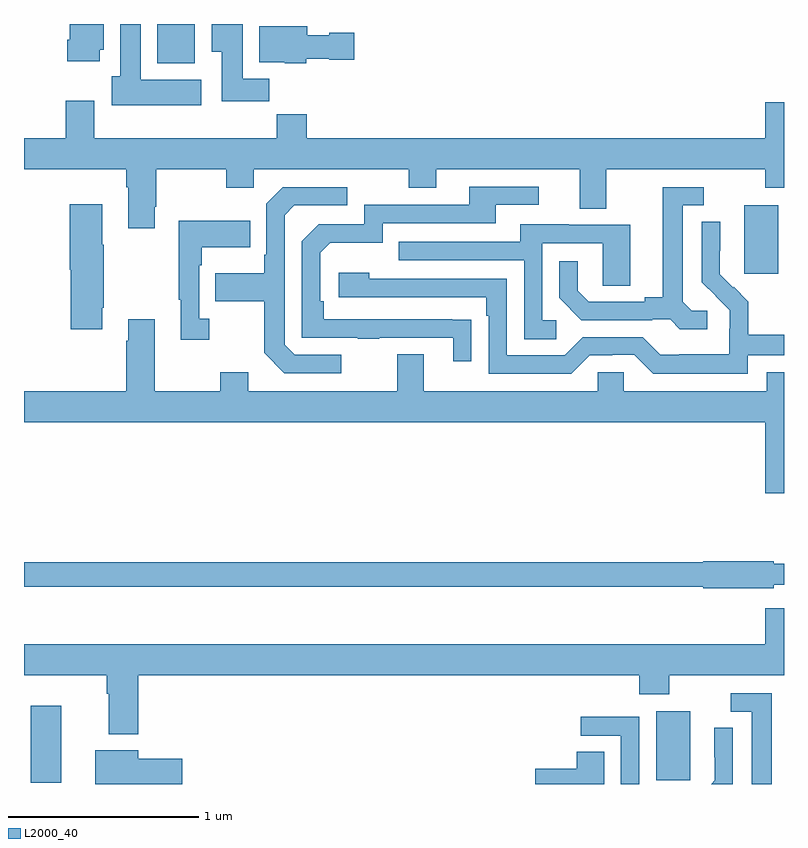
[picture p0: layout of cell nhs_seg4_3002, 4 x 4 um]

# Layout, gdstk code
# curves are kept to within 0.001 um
import gdstk
lib = gdstk.Library(unit=1e-6, precision=1e-09)
def R(c, l, rs):  # rectangles x0, y0, x1, y1
    for r in rs: c.add(gdstk.rectangle(r[:2], r[2:], *l))
def P(c, l, *ps):  # polygons
    for p in ps: c.add(gdstk.Polygon(p, *l))
L2000_40 = (2000, 40)

nhs_seg4_3002 = lib.new_cell('nhs_seg4_3002')
R(nhs_seg4_3002, L2000_40, [(269.036,810.906,269.197,811.312), (272.327,810.921,272.506,811.282), (272.792,813.585,272.971,813.946), (269.702,814.694,269.899,814.9)])
P(nhs_seg4_3002, L2000_40, [(269.398,814.764),(269.419,814.764),(269.419,814.9),(269.24,814.9),(269.24,814.816),(269.228,814.816),(269.228,814.704),(269.398,814.704)],
  [(269.932,814.606),(269.614,814.606),(269.614,814.9),(269.507,814.9),(269.507,814.626),(269.462,814.626),(269.462,814.472),(269.932,814.472)],
  [(270.29,814.612),(270.151,814.612),(270.151,814.9),(269.987,814.9),(269.987,814.753),(270.041,814.753),(270.041,814.494),(270.29,814.494)],
  [(270.486,814.718),(270.606,814.718),(270.606,814.711),(270.739,814.711),(270.739,814.853),(270.606,814.853),(270.606,814.84),(270.49,814.84),(270.49,814.888),(270.239,814.888),(270.239,814.7),(270.372,814.7),(270.372,814.694),(270.486,814.694)],
  [(269.689,813.937),(269.697,813.937),(269.697,814.136),(270.064,814.136),(270.064,814.037),(270.21,814.037),(270.21,814.136),(271.024,814.136),(271.024,814.037),(271.171,814.037),(271.171,814.136),(271.925,814.136),(271.925,813.928),(272.065,813.928),(272.065,814.136),(272.902,814.136),(272.902,814.037),(273,814.037),(273,814.489),(272.9,814.489),(272.9,814.3),(270.488,814.3),(270.488,814.424),(270.331,814.424),(270.331,814.3),(269.371,814.3),(269.371,814.495),(269.219,814.495),(269.219,814.3),(269,814.3),(269,814.136),(269.537,814.136),(269.537,814.04),(269.549,814.04),(269.549,813.825),(269.689,813.825)],
  [(271.355,813.344),(270.578,813.345),(270.578,813.442),(270.558,813.442),(270.558,813.696),(270.611,813.749),(270.888,813.749),(270.888,813.852),(271.483,813.852),(271.483,813.948),(271.708,813.948),(271.708,814.044),(271.343,814.044),(271.343,813.948),(270.792,813.948),(270.792,813.846),(270.552,813.846),(270.462,813.756),(270.462,813.249),(270.757,813.249),(270.757,813.244),(270.869,813.244),(270.869,813.249),(271.259,813.249),(271.259,813.126),(271.355,813.126)],
  [(272.596,813.39),(272.514,813.39),(272.467,813.437),(272.467,813.945),(272.578,813.945),(272.578,814.041),(272.363,814.041),(272.363,813.461),(272.267,813.461),(272.267,813.438),(271.972,813.438),(271.915,813.495),(271.915,813.652),(271.818,813.652),(271.818,813.458),(271.934,813.342),(272.306,813.342),(272.306,813.345),(272.4,813.345),(272.452,813.293),(272.596,813.293)],
  [(270.67,813.159),(270.426,813.159),(270.372,813.213),(270.372,813.894),(270.423,813.945),(270.7,813.945),(270.7,814.041),(270.363,814.041),(270.276,813.954),(270.276,813.685),(270.264,813.685),(270.264,813.589),(270.007,813.589),(270.007,813.442),(270.264,813.442),(270.264,813.169),(270.369,813.063),(270.67,813.063)],
  [(269.413,813.406),(269.421,813.406),(269.421,813.737),(269.413,813.737),(269.413,813.952),(269.24,813.952),(269.24,813.606),(269.246,813.606),(269.246,813.294),(269.413,813.294)],
  [(269.974,813.35),(269.922,813.35),(269.922,813.629),(269.935,813.629),(269.935,813.725),(270.191,813.725),(270.191,813.865),(269.814,813.865),(269.814,813.449),(269.825,813.449),(269.825,813.237),(269.974,813.237)],
  [(272.808,813.156),(273,813.156),(273,813.265),(272.813,813.265),(272.813,813.439),(272.736,813.516),(272.733,813.513),(272.663,813.584),(272.664,813.86),(272.568,813.86),(272.568,813.542),(272.714,813.394),(272.714,813.297),(272.712,813.297),(272.712,813.163),(272.449,813.163),(272.449,813.159),(272.349,813.159),(272.256,813.252),(271.941,813.252),(271.845,813.156),(271.542,813.156),(271.542,813.558),(270.818,813.558),(270.818,813.592),(270.657,813.592),(270.657,813.462),(271.433,813.462),(271.433,813.365),(271.446,813.365),(271.446,813.06),(271.881,813.06),(271.977,813.156),(272.096,813.156),(272.096,813.159),(272.211,813.159),(272.311,813.059),(272.808,813.059)],
  [(271.801,813.342),(271.728,813.342),(271.728,813.747),(272.046,813.747),(272.046,813.523),(272.191,813.523),(272.191,813.843),(271.867,813.843),(271.867,813.847),(271.613,813.847),(271.613,813.753),(270.973,813.753),(270.973,813.657),(271.632,813.657),(271.632,813.241),(271.801,813.241)],
  [(273,813.067),(272.909,813.067),(272.909,812.968),(272.157,812.968),(272.157,813.066),(272.019,813.066),(272.019,812.968),(271.105,812.968),(271.105,813.163),(270.965,813.163),(270.965,812.968),(270.181,812.968),(270.181,813.067),(270.034,813.067),(270.034,812.968),(269.689,812.968),(269.689,813.346),(269.549,813.346),(269.549,813.233),(269.537,813.233),(269.537,812.968),(269,812.968),(269,812.804),(272.9,812.804),(272.9,812.43),(273,812.43)],
  [(272.946,811.95),(273,811.95),(273,812.059),(272.946,812.059),(272.946,812.072),(272.574,812.072),(272.574,812.066),(269,812.066),(269,811.938),(272.574,811.938),(272.574,811.93),(272.946,811.93)],
  [(269.6,811.472),(272.237,811.472),(272.237,811.373),(272.397,811.373),(272.397,811.472),(273,811.472),(273,811.825),(272.9,811.825),(272.9,811.636),(269,811.636),(269,811.472),(269.435,811.472),(269.435,811.376),(269.447,811.376),(269.447,811.163),(269.6,811.163)],
  [(272.935,811.377),(272.721,811.377),(272.721,811.281),(272.831,811.281),(272.831,810.9),(272.935,810.9)],
  [(272.238,811.254),(271.929,811.254),(271.929,811.155),(272.142,811.155),(272.142,810.9),(272.238,810.9)],
  [(272.73,811.196),(272.634,811.196),(272.634,811.042),(272.636,811.042),(272.636,810.92),(272.616,810.9),(272.73,810.9)],
  [(269.833,811.032),(269.602,811.032),(269.602,811.078),(269.375,811.078),(269.375,810.9),(269.833,810.9)],
  [(272.053,811.07),(271.91,811.07),(271.91,810.98),(271.692,810.98),(271.692,810.9),(272.053,810.9)])

lib.write_gds('nhs_seg4_3002.gds')
